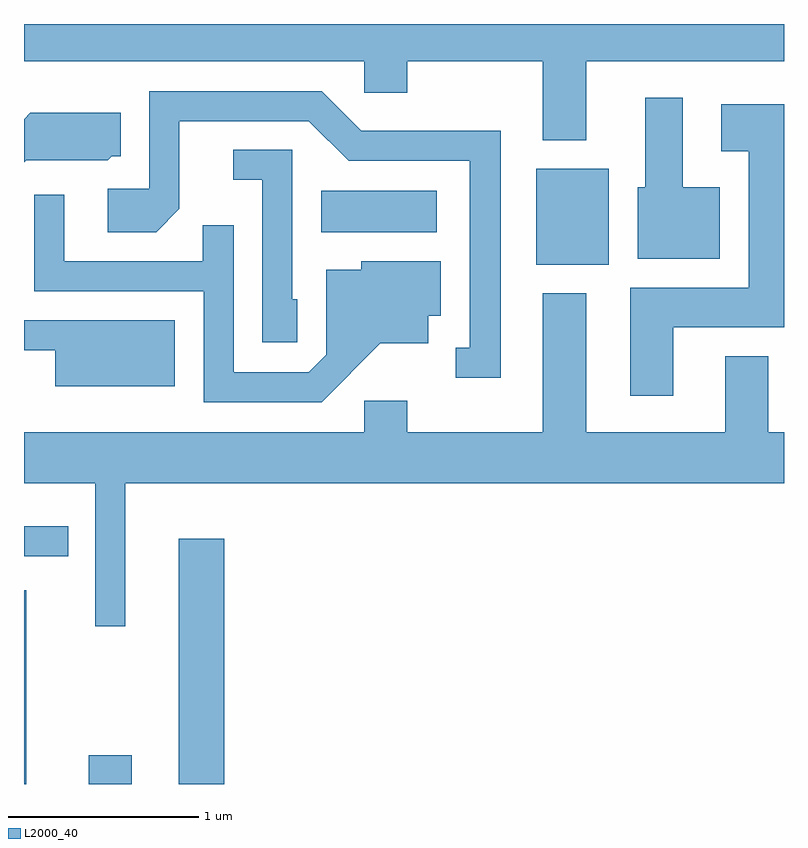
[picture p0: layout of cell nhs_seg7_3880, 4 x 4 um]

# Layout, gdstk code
import gdstk
lib = gdstk.Library(unit=1e-6, precision=1e-09)
def R(c, l, rs):  # rectangles x0, y0, x1, y1
    for r in rs: c.add(gdstk.rectangle(r[:2], r[2:], *l))
def P(c, l, *ps):  # polygons
    for p in ps: c.add(gdstk.Polygon(p, *l))
L2000_40 = (2000, 40)

nhs_seg7_3880 = lib.new_cell('nhs_seg7_3880')
R(nhs_seg7_3880, L2000_40, [(303.611,1748.252,303.624,1749.273), (303.951,1748.252,304.179,1748.404), (304.426,1748.252,304.664,1749.544), (303.611,1749.451,303.843,1749.609), (306.306,1750.986,306.689,1751.489), (305.176,1751.156,305.784,1751.374)])
P(nhs_seg7_3880, L2000_40, [(306.569,1752.056),(307.611,1752.056),(307.611,1752.252),(303.611,1752.252),(303.611,1752.056),(305.401,1752.056),(305.401,1751.891),(305.629,1751.891),(305.629,1752.056),(306.341,1752.056),(306.341,1751.641),(306.569,1751.641)],
  [(306.119,1751.689),(305.387,1751.689),(305.177,1751.899),(304.271,1751.899),(304.271,1751.384),(304.051,1751.384),(304.051,1751.156),(304.307,1751.156),(304.429,1751.279),(304.429,1751.741),(305.109,1751.741),(305.319,1751.531),(305.956,1751.531),(305.956,1750.549),(305.883,1750.549),(305.883,1750.391),(306.119,1750.391)],
  [(307.274,1751.394),(307.079,1751.394),(307.079,1751.864),(306.881,1751.864),(306.881,1751.394),(306.841,1751.394),(306.841,1751.016),(307.274,1751.016)],
  [(307.029,1750.656),(307.611,1750.656),(307.611,1751.829),(307.281,1751.829),(307.281,1751.581),(307.426,1751.581),(307.426,1750.864),(306.801,1750.864),(306.801,1750.296),(307.029,1750.296)],
  [(303.622,1751.536),(304.052,1751.536),(304.072,1751.556),(304.119,1751.556),(304.119,1751.784),(303.644,1751.784),(303.611,1751.751),(303.611,1751.525)],
  [(305.049,1750.804),(305.024,1750.804),(305.024,1751.589),(304.713,1751.589),(304.713,1751.431),(304.866,1751.431),(304.866,1750.576),(305.049,1750.576)],
  [(305.487,1750.571),(305.739,1750.571),(305.739,1750.716),(305.804,1750.716),(305.804,1751.004),(305.386,1751.004),(305.386,1750.959),(305.201,1750.959),(305.201,1750.512),(305.109,1750.419),(304.714,1750.419),(304.714,1751.193),(304.551,1751.193),(304.551,1751.004),(303.824,1751.004),(303.824,1751.353),(303.666,1751.353),(303.666,1750.846),(304.556,1750.846),(304.556,1750.261),(305.177,1750.261)],
  [(304.404,1750.694),(303.611,1750.694),(303.611,1750.536),(303.776,1750.536),(303.776,1750.346),(304.404,1750.346)],
  [(307.301,1750.504),(307.301,1750.104),(306.569,1750.104),(306.569,1750.834),(306.341,1750.834),(306.341,1750.104),(305.629,1750.104),(305.629,1750.269),(305.401,1750.269),(305.401,1750.104),(303.611,1750.104),(303.611,1749.836),(303.986,1749.836),(303.986,1749.083),(304.144,1749.083),(304.144,1749.836),(307.611,1749.836),(307.611,1750.104),(307.529,1750.104),(307.529,1750.504)])

lib.write_gds('nhs_seg7_3880.gds')
